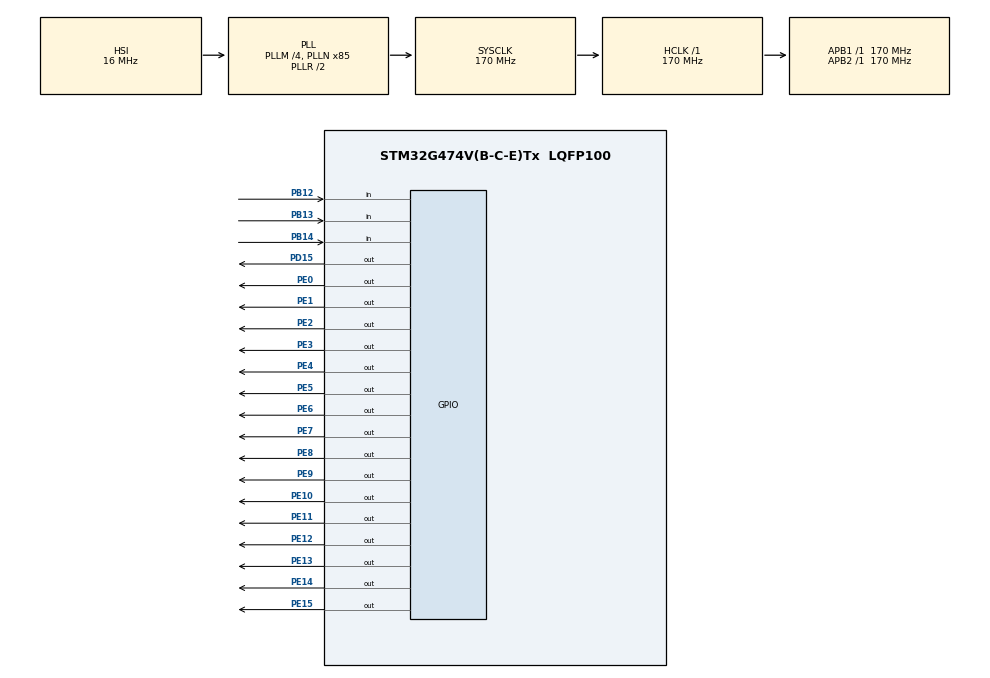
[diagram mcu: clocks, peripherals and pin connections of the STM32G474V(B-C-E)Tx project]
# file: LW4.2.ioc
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FREERTOS.BinarySemaphores01=myBinarySem01,Dynamic,NULL
FREERTOS.Queues01=myQueue01,16,uint16_t,0,Dynamic,NULL,NULL
FREERTOS.Tasks01=DefaultTask,0,128,StartDefaultTask,Default,NULL,Dynamic,NULL,NULL;TaskForwardBtn,0,128,StartTaskForwardBtn,Default,NULL,Dynamic,NULL,NULL;TaskReverseBtn,0,128,StartTaskReverseBtn,Default,NULL,Dynamic,NULL,NULL;TaskBlockBtn,0,128,StartTaskBlockBtn,Default,NULL,Dynamic,NULL,NULL
FREERTOS.configTOTAL_HEAP_SIZE=4096
FREERTOS.configUSE_NEWLIB_REENTRANT=1
Mcu.Family=STM32G4
Mcu.Name=STM32G474V(B-C-E)Tx
Mcu.Package=LQFP100
NVIC.PriorityGroup=NVIC_PRIORITYGROUP_4
NVIC.TIM2_IRQn=true\:15\:0\:false\:false\:true\:false\:false\:true\:true
NVIC.TimeBase=TIM2_IRQn
NVIC.TimeBaseIP=TIM2
PB12.GPIO_PuPd=GPIO_PULLUP
PB12.Signal=GPIO_Input
PB13.GPIO_PuPd=GPIO_PULLUP
PB13.Signal=GPIO_Input
PB14.GPIO_PuPd=GPIO_PULLUP
PB14.Signal=GPIO_Input
PD15.GPIO_Speed=GPIO_SPEED_FREQ_VERY_HIGH
PD15.Signal=GPIO_Output
PE0.GPIO_Speed=GPIO_SPEED_FREQ_VERY_HIGH
PE0.Signal=GPIO_Output
PE1.GPIO_Speed=GPIO_SPEED_FREQ_VERY_HIGH
PE1.Signal=GPIO_Output
PE10.GPIO_Speed=GPIO_SPEED_FREQ_VERY_HIGH
PE10.Signal=GPIO_Output
PE11.GPIO_Speed=GPIO_SPEED_FREQ_VERY_HIGH
PE11.Signal=GPIO_Output
PE12.GPIO_Speed=GPIO_SPEED_FREQ_VERY_HIGH
PE12.Signal=GPIO_Output
PE13.GPIO_Speed=GPIO_SPEED_FREQ_VERY_HIGH
PE13.Signal=GPIO_Output
PE14.GPIO_Speed=GPIO_SPEED_FREQ_VERY_HIGH
PE14.Signal=GPIO_Output
PE15.GPIO_Speed=GPIO_SPEED_FREQ_VERY_HIGH
PE15.Signal=GPIO_Output
PE2.GPIO_Speed=GPIO_SPEED_FREQ_VERY_HIGH
PE2.Signal=GPIO_Output
PE3.GPIO_Speed=GPIO_SPEED_FREQ_VERY_HIGH
PE3.Signal=GPIO_Output
PE4.GPIO_Speed=GPIO_SPEED_FREQ_VERY_HIGH
PE4.Signal=GPIO_Output
PE5.GPIO_Speed=GPIO_SPEED_FREQ_VERY_HIGH
PE5.Signal=GPIO_Output
PE6.GPIO_Speed=GPIO_SPEED_FREQ_VERY_HIGH
PE6.Signal=GPIO_Output
PE7.GPIO_Speed=GPIO_SPEED_FREQ_VERY_HIGH
PE7.Signal=GPIO_Output
PE8.GPIO_Speed=GPIO_SPEED_FREQ_VERY_HIGH
PE8.Signal=GPIO_Output
PE9.GPIO_Speed=GPIO_SPEED_FREQ_VERY_HIGH
PE9.Signal=GPIO_Output
ProjectManager.HeapSize=0x200
ProjectManager.StackSize=0x400
ProjectManager.TargetToolchain=STM32CubeIDE
RCC.ADC12Freq_Value=170000000
RCC.ADC345Freq_Value=170000000
RCC.AHBFreq_Value=170000000
RCC.APB1Freq_Value=170000000
RCC.APB1TimFreq_Value=170000000
RCC.APB2Freq_Value=170000000
RCC.APB2TimFreq_Value=170000000
RCC.CortexFreq_Value=170000000
RCC.EXTERNAL_CLOCK_VALUE=12288000
RCC.HCLKFreq_Value=170000000
RCC.HSE_VALUE=8000000
RCC.HSI48_VALUE=48000000
RCC.HSI_VALUE=16000000
RCC.LSE_VALUE=32768
RCC.PLLM=RCC_PLLM_DIV4
RCC.PLLN=85
RCC.SYSCLKFreq_VALUE=170000000
RCC.SYSCLKSource=RCC_SYSCLKSOURCE_PLLCLK
RCC.USBFreq_Value=170000000
RCC.VCOOutputFreq_Value=340000000
VP_FREERTOS_VS_CMSIS_V1.Mode=CMSIS_V1
VP_SYS_VS_DBSignals.Mode=DisableDeadBatterySignals
VP_SYS_VS_tim2.Mode=TIM2
board=custom

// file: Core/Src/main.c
/* USER CODE BEGIN Header */
/**
  ******************************************************************************
  * @file           : main.c
  * @brief          : Main program body
  ******************************************************************************
  * @attention
  *
  * Copyright (c) 2024 STMicroelectronics.
  * All rights reserved.
  *
  * This software is licensed under terms that can be found in the LICENSE file
  * in the root directory of this software component.
  * If no LICENSE file comes with this software, it is provided AS-IS.
  *
  ******************************************************************************
  */
/* USER CODE END Header */
#include "main.h"
#include "cmsis_os.h"

/* USER CODE BEGIN Includes */
#include <stdbool.h>
/* USER CODE END Includes */

osThreadId DefaultTaskHandle;
osThreadId TaskForwardBtnHandle;
osThreadId TaskReverseBtnHandle;
osThreadId TaskBlockBtnHandle;
osMessageQId myQueue01Handle;
osSemaphoreId myBinarySem01Handle;

void SystemClock_Config(void);
static void MX_GPIO_Init(void);
void StartDefaultTask(void const * argument);
void StartTaskForwardBtn(void const * argument);
void StartTaskReverseBtn(void const * argument);
void StartTaskBlockBtn(void const * argument);

int main(void)
{

  /* MCU Configuration--------------------------------------------------------*/

  /* Reset of all peripherals, Initializes the Flash interface and the Systick. */
  HAL_Init();

  /* Configure the system clock */
  SystemClock_Config();

  /* Initialize all configured peripherals */
  MX_GPIO_Init();

  /* Create the semaphores(s) */
  /* definition and creation of myBinarySem01 */
  osSemaphoreDef(myBinarySem01);
  myBinarySem01Handle = osSemaphoreCreate(osSemaphore(myBinarySem01), 1);

  /* Create the queue(s) */
  /* definition and creation of myQueue01 */
  osMessageQDef(myQueue01, 16, uint16_t);
  myQueue01Handle = osMessageCreate(osMessageQ(myQueue01), NULL);

  /* Create the thread(s) */
  /* definition and creation of DefaultTask */
  osThreadDef(DefaultTask, StartDefaultTask, osPriorityNormal, 0, 128);
  DefaultTaskHandle = osThreadCreate(osThread(DefaultTask), NULL);

  /* definition and creation of TaskForwardBtn */
  osThreadDef(TaskForwardBtn, StartTaskForwardBtn, osPriorityNormal, 0, 128);
  TaskForwardBtnHandle = osThreadCreate(osThread(TaskForwardBtn), NULL);

  /* definition and creation of TaskReverseBtn */
  osThreadDef(TaskReverseBtn, StartTaskReverseBtn, osPriorityNormal, 0, 128);
  TaskReverseBtnHandle = osThreadCreate(osThread(TaskReverseBtn), NULL);

  /* definition and creation of TaskBlockBtn */
  osThreadDef(TaskBlockBtn, StartTaskBlockBtn, osPriorityNormal, 0, 128);
  TaskBlockBtnHandle = osThreadCreate(osThread(TaskBlockBtn), NULL);

  /* Start scheduler */
  osKernelStart();

  /* We should never get here as control is now taken by the scheduler */
  /* Infinite loop */
  while (1) {

  }
}

void SystemClock_Config(void)
{
  RCC_OscInitTypeDef RCC_OscInitStruct = {0};
  RCC_ClkInitTypeDef RCC_ClkInitStruct = {0};

  /** Configure the main internal regulator output voltage
  */
  HAL_PWREx_ControlVoltageScaling(PWR_REGULATOR_VOLTAGE_SCALE1_BOOST);

  /** Initializes the RCC Oscillators according to the specified parameters
  * in the RCC_OscInitTypeDef structure.
  */
  RCC_OscInitStruct.OscillatorType = RCC_OSCILLATORTYPE_HSI;
  RCC_OscInitStruct.HSIState = RCC_HSI_ON;
  RCC_OscInitStruct.HSICalibrationValue = RCC_HSICALIBRATION_DEFAULT;
  RCC_OscInitStruct.PLL.PLLState = RCC_PLL_ON;
  RCC_OscInitStruct.PLL.PLLSource = RCC_PLLSOURCE_HSI;
  RCC_OscInitStruct.PLL.PLLM = RCC_PLLM_DIV4;
  RCC_OscInitStruct.PLL.PLLN = 85;
  RCC_OscInitStruct.PLL.PLLP = RCC_PLLP_DIV2;
  RCC_OscInitStruct.PLL.PLLQ = RCC_PLLQ_DIV2;
  RCC_OscInitStruct.PLL.PLLR = RCC_PLLR_DIV2;
  if (HAL_RCC_OscConfig(&RCC_OscInitStruct) != HAL_OK)
  {
    Error_Handler();
  }

  /** Initializes the CPU, AHB and APB buses clocks
  */
  RCC_ClkInitStruct.ClockType = RCC_CLOCKTYPE_HCLK|RCC_CLOCKTYPE_SYSCLK
                              |RCC_CLOCKTYPE_PCLK1|RCC_CLOCKTYPE_PCLK2;
  RCC_ClkInitStruct.SYSCLKSource = RCC_SYSCLKSOURCE_PLLCLK;
  RCC_ClkInitStruct.AHBCLKDivider = RCC_SYSCLK_DIV1;
  RCC_ClkInitStruct.APB1CLKDivider = RCC_HCLK_DIV1;
  RCC_ClkInitStruct.APB2CLKDivider = RCC_HCLK_DIV1;

  if (HAL_RCC_ClockConfig(&RCC_ClkInitStruct, FLASH_LATENCY_4) != HAL_OK)
  {
    Error_Handler();
  }
}

static void MX_GPIO_Init(void)
{
  GPIO_InitTypeDef GPIO_InitStruct = {0};

  /* GPIO Ports Clock Enable */
  __HAL_RCC_GPIOE_CLK_ENABLE();
  __HAL_RCC_GPIOB_CLK_ENABLE();
  __HAL_RCC_GPIOD_CLK_ENABLE();

  /*Configure GPIO pin Output Level */
  HAL_GPIO_WritePin(GPIOE, GPIO_PIN_2|GPIO_PIN_3|GPIO_PIN_4|GPIO_PIN_5
                          |GPIO_PIN_6|GPIO_PIN_7|GPIO_PIN_8|GPIO_PIN_9
                          |GPIO_PIN_10|GPIO_PIN_11|GPIO_PIN_12|GPIO_PIN_13
                          |GPIO_PIN_14|GPIO_PIN_15|GPIO_PIN_0|GPIO_PIN_1, GPIO_PIN_RESET);

  /*Configure GPIO pin Output Level */
  HAL_GPIO_WritePin(GPIOD, GPIO_PIN_15, GPIO_PIN_RESET);

  /*Configure GPIO pins : PE2 PE3 PE4 PE5
                           PE6 PE7 PE8 PE9
                           PE10 PE11 PE12 PE13
                           PE14 PE15 PE0 PE1 */
  GPIO_InitStruct.Pin = GPIO_PIN_2|GPIO_PIN_3|GPIO_PIN_4|GPIO_PIN_5
                          |GPIO_PIN_6|GPIO_PIN_7|GPIO_PIN_8|GPIO_PIN_9
                          |GPIO_PIN_10|GPIO_PIN_11|GPIO_PIN_12|GPIO_PIN_13
                          |GPIO_PIN_14|GPIO_PIN_15|GPIO_PIN_0|GPIO_PIN_1;
  GPIO_InitStruct.Mode = GPIO_MODE_OUTPUT_PP;
  GPIO_InitStruct.Pull = GPIO_NOPULL;
  GPIO_InitStruct.Speed = GPIO_SPEED_FREQ_VERY_HIGH;
  HAL_GPIO_Init(GPIOE, &GPIO_InitStruct);

  /*Configure GPIO pins : PB12 PB13 PB14 */
  GPIO_InitStruct.Pin = GPIO_PIN_12|GPIO_PIN_13|GPIO_PIN_14;
  GPIO_InitStruct.Mode = GPIO_MODE_INPUT;
  GPIO_InitStruct.Pull = GPIO_PULLUP;
  HAL_GPIO_Init(GPIOB, &GPIO_InitStruct);

  /*Configure GPIO pin : PD15 */
  GPIO_InitStruct.Pin = GPIO_PIN_15;
  GPIO_InitStruct.Mode = GPIO_MODE_OUTPUT_PP;
  GPIO_InitStruct.Pull = GPIO_NOPULL;
  GPIO_InitStruct.Speed = GPIO_SPEED_FREQ_VERY_HIGH;
  HAL_GPIO_Init(GPIOD, &GPIO_InitStruct);

}

void StartDefaultTask(void const * argument)
{
  /* USER CODE BEGIN 5 */
  bool flag = true;
  uint8_t i = 0;
  /* Infinite loop */
  for (;;) {
    osEvent event = osMessageGet(myQueue01Handle, 10);

    if (event.status == osEventMessage) {
      if (event.value.v == 1) flag = true;
      if (event.value.v == -1) flag = false;
    }

    // forward mode
    if (flag == true) {
      HAL_GPIO_WritePin(GPIOE, GPIO_PIN_0 << i, GPIO_PIN_SET);
      osDelay(100);
      HAL_GPIO_WritePin(GPIOE, GPIO_PIN_0 << i, GPIO_PIN_RESET);
    } else {  // reverse mode
      HAL_GPIO_WritePin(GPIOE, GPIO_PIN_15 >> i, GPIO_PIN_SET);
      osDelay(100);
      HAL_GPIO_WritePin(GPIOE, GPIO_PIN_15 >> i, GPIO_PIN_RESET);
    }
    if (i < 15) i++;
    else i = 0;
  }
  /* USER CODE END 5 */
}

void StartTaskForwardBtn(void const * argument)
{
  /* USER CODE BEGIN StartTaskForwardBtn */
  /* Infinite loop */
  for (;;) {
    if (HAL_GPIO_ReadPin(GPIOB, GPIO_PIN_12) == 0) {
      while (HAL_GPIO_ReadPin(GPIOB, GPIO_PIN_12) == 0);

      if (xSemaphoreTake(myBinarySem01Handle, (TickType_t) 100) == pdTRUE) {
        osMessagePut(myQueue01Handle, 1, 10);
        xSemaphoreGive(myBinarySem01Handle);
        osDelay(10);
      }
    }
  }
  /* USER CODE END StartTaskForwardBtn */
}

void StartTaskReverseBtn(void const * argument)
{
  /* USER CODE BEGIN StartTaskReverseBtn */
  /* Infinite loop */
  for (;;) {
    if (HAL_GPIO_ReadPin(GPIOB, GPIO_PIN_13) == 0) {
      while (HAL_GPIO_ReadPin(GPIOB, GPIO_PIN_13) == 0);

      if (xSemaphoreTake(myBinarySem01Handle, (TickType_t) 100) == pdTRUE) {
        osMessagePut(myQueue01Handle, -1, 10);
        xSemaphoreGive(myBinarySem01Handle);
        osDelay(10);
      }
    }
  }
  /* USER CODE END StartTaskReverseBtn */
}

void StartTaskBlockBtn(void const * argument)
{
  /* USER CODE BEGIN StartTaskBlockBtn */
  uint8_t count = 0;
  /* Infinite loop */
  for (;;) {
    if (HAL_GPIO_ReadPin(GPIOB, GPIO_PIN_14) == 0) {
      while (HAL_GPIO_ReadPin(GPIOB, GPIO_PIN_14) == 0);

      count = (count + 1) % 2;

      if (count == 1 && xSemaphoreTake(myBinarySem01Handle, (TickType_t) 100) == pdTRUE) {
        HAL_GPIO_WritePin(GPIOD, GPIO_PIN_15, GPIO_PIN_SET);
      } else {
        xSemaphoreGive(myBinarySem01Handle);
        HAL_GPIO_WritePin(GPIOD, GPIO_PIN_15, GPIO_PIN_RESET);
      }
      osDelay(10);
    }
  }
  /* USER CODE END StartTaskBlockBtn */
}

void HAL_TIM_PeriodElapsedCallback(TIM_HandleTypeDef *htim)
{
  if (htim->Instance == TIM2) {
    HAL_IncTick();
  }
}

void Error_Handler(void)
{
  __disable_irq();
  while (1) {
  }
}
